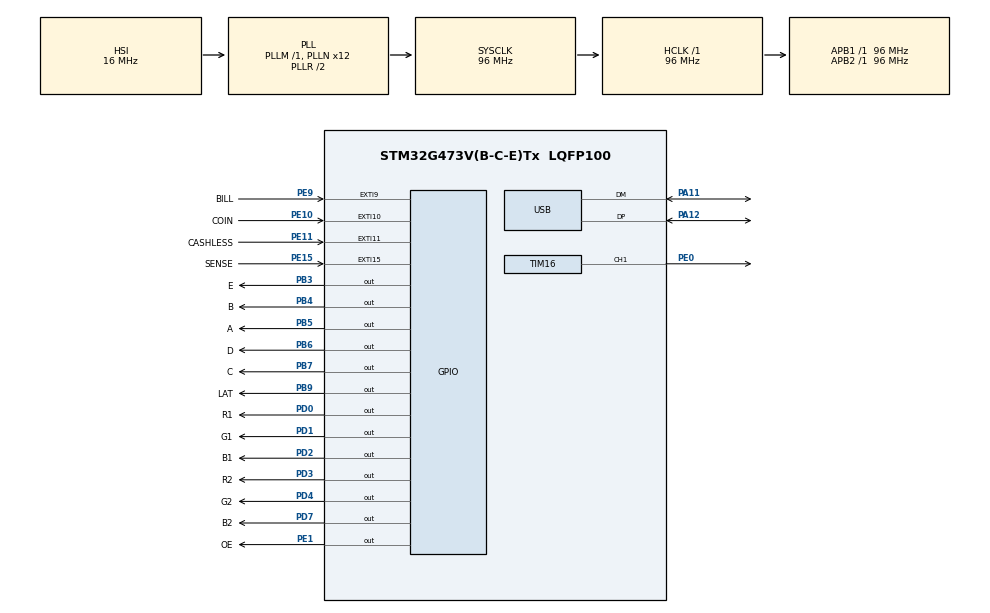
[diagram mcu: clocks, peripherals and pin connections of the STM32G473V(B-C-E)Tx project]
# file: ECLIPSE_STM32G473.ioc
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Dma.Request0=TIM16_UP
Dma.TIM16_UP.0.Direction=DMA_MEMORY_TO_PERIPH
Dma.TIM16_UP.0.EventEnable=DISABLE
Dma.TIM16_UP.0.Instance=DMA1_Channel1
Dma.TIM16_UP.0.MemDataAlignment=DMA_MDATAALIGN_WORD
Dma.TIM16_UP.0.MemInc=DMA_MINC_ENABLE
Dma.TIM16_UP.0.Mode=DMA_NORMAL
Dma.TIM16_UP.0.PeriphDataAlignment=DMA_PDATAALIGN_WORD
Dma.TIM16_UP.0.PeriphInc=DMA_PINC_DISABLE
Dma.TIM16_UP.0.Polarity=HAL_DMAMUX_REQ_GEN_RISING
Dma.TIM16_UP.0.Priority=DMA_PRIORITY_HIGH
Dma.TIM16_UP.0.RequestNumber=1
Dma.TIM16_UP.0.SignalID=NONE
Dma.TIM16_UP.0.SyncEnable=DISABLE
Dma.TIM16_UP.0.SyncPolarity=HAL_DMAMUX_SYNC_NO_EVENT
Dma.TIM16_UP.0.SyncRequestNumber=1
Dma.TIM16_UP.0.SyncSignalID=NONE
Mcu.Family=STM32G4
Mcu.Name=STM32G473V(B-C-E)Tx
Mcu.Package=LQFP100
NVIC.DMA1_Channel1_IRQn=true\:0\:0\:false\:false\:true\:false\:true\:true
NVIC.EXTI15_10_IRQn=true\:0\:0\:false\:false\:true\:true\:true\:true
NVIC.EXTI9_5_IRQn=true\:0\:0\:false\:false\:true\:true\:true\:true
NVIC.PriorityGroup=NVIC_PRIORITYGROUP_4
NVIC.TIM1_UP_TIM16_IRQn=true\:0\:0\:false\:false\:true\:true\:true\:true
NVIC.USB_LP_IRQn=true\:0\:0\:false\:false\:true\:false\:true\:true
PA11.Mode=Device
PA11.Signal=USB_DM
PA12.Mode=Device
PA12.Signal=USB_DP
PB3.GPIO_Label=E
PB3.GPIO_Speed=GPIO_SPEED_FREQ_VERY_HIGH
PB3.Signal=GPIO_Output
PB4.GPIO_Label=B
PB4.GPIO_Speed=GPIO_SPEED_FREQ_VERY_HIGH
PB4.Signal=GPIO_Output
PB5.GPIO_Label=A
PB5.GPIO_Speed=GPIO_SPEED_FREQ_VERY_HIGH
PB5.Signal=GPIO_Output
PB6.GPIO_Label=D
PB6.GPIO_Speed=GPIO_SPEED_FREQ_VERY_HIGH
PB6.Signal=GPIO_Output
PB7.GPIO_Label=C
PB7.GPIO_Speed=GPIO_SPEED_FREQ_VERY_HIGH
PB7.Signal=GPIO_Output
PB9.GPIO_Label=LAT
PB9.GPIO_Speed=GPIO_SPEED_FREQ_VERY_HIGH
PB9.Signal=GPIO_Output
PD0.GPIO_Label=R1
PD0.GPIO_Speed=GPIO_SPEED_FREQ_VERY_HIGH
PD0.Signal=GPIO_Output
PD1.GPIO_Label=G1
PD1.GPIO_Speed=GPIO_SPEED_FREQ_VERY_HIGH
PD1.Signal=GPIO_Output
PD2.GPIO_Label=B1
PD2.GPIO_Speed=GPIO_SPEED_FREQ_VERY_HIGH
PD2.Signal=GPIO_Output
PD3.GPIO_Label=R2
PD3.GPIO_Speed=GPIO_SPEED_FREQ_VERY_HIGH
PD3.Signal=GPIO_Output
PD4.GPIO_Label=G2
PD4.GPIO_Speed=GPIO_SPEED_FREQ_VERY_HIGH
PD4.Signal=GPIO_Output
PD7.GPIO_Label=B2
PD7.GPIO_Speed=GPIO_SPEED_FREQ_VERY_HIGH
PD7.PinState=GPIO_PIN_RESET
PD7.Signal=GPIO_Output
PE0.GPIO_Speed=GPIO_SPEED_FREQ_VERY_HIGH
PE0.Signal=S_TIM16_CH1
PE1.GPIO_Label=OE
PE1.GPIO_Speed=GPIO_SPEED_FREQ_VERY_HIGH
PE1.Signal=GPIO_Output
PE10.GPIO_Label=COIN
PE10.GPIO_ModeDefaultEXTI=GPIO_MODE_IT_FALLING
PE10.Signal=GPXTI10
PE11.GPIO_Label=CASHLESS
PE11.GPIO_ModeDefaultEXTI=GPIO_MODE_IT_FALLING
PE11.Signal=GPXTI11
PE15.GPIO_Label=SENSE
PE15.GPIO_ModeDefaultEXTI=GPIO_MODE_IT_FALLING
PE15.Signal=GPXTI15
PE9.GPIO_Label=BILL
PE9.GPIO_ModeDefaultEXTI=GPIO_MODE_IT_FALLING
PE9.Signal=GPXTI9
PF0-OSC_IN.Mode=HSE-External-Oscillator
PF0-OSC_IN.Signal=RCC_OSC_IN
PF1-OSC_OUT.Mode=HSE-External-Oscillator
PF1-OSC_OUT.Signal=RCC_OSC_OUT
ProjectManager.HeapSize=0x200
ProjectManager.StackSize=0x400
ProjectManager.TargetToolchain=STM32CubeIDE
RCC.ADC12Freq_Value=96000000
RCC.ADC345Freq_Value=96000000
RCC.AHBFreq_Value=96000000
RCC.APB1Freq_Value=96000000
RCC.APB1TimFreq_Value=96000000
RCC.APB2Freq_Value=96000000
RCC.APB2TimFreq_Value=96000000
RCC.CortexFreq_Value=96000000
RCC.EXTERNAL_CLOCK_VALUE=12288000
RCC.HCLKFreq_Value=96000000
RCC.HSE_VALUE=8000000
RCC.HSI48_VALUE=48000000
RCC.HSI_VALUE=16000000
RCC.LSE_VALUE=32768
RCC.PLLN=12
RCC.PLLQ=RCC_PLLQ_DIV4
RCC.SYSCLKFreq_VALUE=96000000
RCC.SYSCLKSource=RCC_SYSCLKSOURCE_PLLCLK
RCC.USBFreq_Value=48000000
RCC.VCOOutputFreq_Value=192000000
SH.S_TIM16_CH1.0=TIM16_CH1,PWM Generation1 CH1
TIM1.PeriodNoDither=599
TIM1.Prescaler=7999
TIM16.AutoReloadPreload=TIM_AUTORELOAD_PRELOAD_ENABLE
TIM16.Channel=TIM_CHANNEL_1
TIM16.OCMode_PWM=TIM_OCMODE_PWM2
TIM16.PeriodNoDither=959
TIM16.PulseNoDither_1=800
TIM6.Prescaler=96 - 1
USB_DEVICE.CLASS_NAME_FS=CDC
USB_DEVICE.VirtualMode=Cdc
USB_DEVICE.VirtualModeFS=Cdc_FS
VP_SYS_VS_DBSignals.Mode=DisableDeadBatterySignals
VP_TIM16_VS_ClockSourceINT.Mode=Enable_Timer
VP_TIM1_VS_ClockSourceINT.Mode=Internal
VP_TIM6_VS_ClockSourceINT.Mode=Enable_Timer
VP_USB_DEVICE_VS_USB_DEVICE_CDC_FS.Mode=CDC_FS
board=custom

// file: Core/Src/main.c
/* USER CODE BEGIN Header */
/**
  ******************************************************************************
  * @file           : main.c
  * @brief          : Main program body
  ******************************************************************************
  * @attention
  *
  * Copyright (c) 2026 STMicroelectronics.
  * All rights reserved.
  *
  * This software is licensed under terms that can be found in the LICENSE file
  * in the root directory of this software component.
  * If no LICENSE file comes with this software, it is provided AS-IS.
  *
  ******************************************************************************
  */
/* USER CODE END Header */
#include "main.h"
#include "usb_device.h"

/* USER CODE BEGIN Includes */
#include <stdint.h>
#include "timer.h"
#include "hub75e.h"
#include "payment_pulse.h"
/* USER CODE END Includes */

TIM_HandleTypeDef htim1;
TIM_HandleTypeDef htim6;
TIM_HandleTypeDef htim16;
DMA_HandleTypeDef hdma_tim16_up;

void SystemClock_Config(void);
static void MX_GPIO_Init(void);
static void MX_DMA_Init(void);
static void MX_TIM1_Init(void);
static void MX_TIM16_Init(void);
static void MX_TIM6_Init(void);

int main(void)
{

  /* MCU Configuration--------------------------------------------------------*/

  /* Reset of all peripherals, Initializes the Flash interface and the Systick. */
  HAL_Init();

  /* Configure the system clock */
  SystemClock_Config();

  /* Initialize all configured peripherals */
  MX_GPIO_Init();
  MX_DMA_Init();
  MX_USB_Device_Init();
  MX_TIM1_Init();
  MX_TIM16_Init();
  MX_TIM6_Init();
  /* USER CODE BEGIN 2 */
  HAL_TIM_Base_Start_IT(&htim1);

  const char* my_text[] = {
      "QWERTY",
      "UIOP",
	  "ASDFGHJK",
  };
  uint32_t new_total;

  HUB75_DMA_Init();
//  HUB75_DMA_TestPattern();

  /* USER CODE END 2 */

  /* Infinite loop */
  /* USER CODE BEGIN WHILE */
  while (1)
  {
//	  font5x7_DrawStringCentered("SONA SONA MACHKALYAN");
//	  HUB75_ScrollTexts(my_text, sizeof(my_text) / sizeof(my_text[0]));
//	  HUB75_ReplaceTexts(my_text, sizeof(my_text) / sizeof(my_text[0]));
	  uint32_t new_total;

	  if (PaymentPulse_UpdateTotal(&new_total))
	      font5x7_display_uint32(new_total);

	  HUB75_Display();
//	  HUB75_DMA_TestPattern();

	  HUB75_Display();

//	  if (timer500ms_flag) {
//		  timer500ms_flag = 0;
//
//		  HUB75_ClearScreen();
//
//		  HUB75_SetPixel(x, y);
//
//		  ++y;
//
//		  if (y >= 64) {
//			  y = 0;
//			  ++x;
//		  }
//		  if (x >= 32) x = 0;
//	  }

    /* USER CODE END WHILE */

  }
}

void SystemClock_Config(void)
{
  RCC_OscInitTypeDef RCC_OscInitStruct = {0};
  RCC_ClkInitTypeDef RCC_ClkInitStruct = {0};

  /** Configure the main internal regulator output voltage
  */
  HAL_PWREx_ControlVoltageScaling(PWR_REGULATOR_VOLTAGE_SCALE1);

  /** Initializes the RCC Oscillators according to the specified parameters
  * in the RCC_OscInitTypeDef structure.
  */
  RCC_OscInitStruct.OscillatorType = RCC_OSCILLATORTYPE_HSI;
  RCC_OscInitStruct.HSIState = RCC_HSI_ON;
  RCC_OscInitStruct.HSICalibrationValue = RCC_HSICALIBRATION_DEFAULT;
  RCC_OscInitStruct.PLL.PLLState = RCC_PLL_ON;
  RCC_OscInitStruct.PLL.PLLSource = RCC_PLLSOURCE_HSI;
  RCC_OscInitStruct.PLL.PLLM = RCC_PLLM_DIV1;
  RCC_OscInitStruct.PLL.PLLN = 12;
  RCC_OscInitStruct.PLL.PLLP = RCC_PLLP_DIV2;
  RCC_OscInitStruct.PLL.PLLQ = RCC_PLLQ_DIV4;
  RCC_OscInitStruct.PLL.PLLR = RCC_PLLR_DIV2;
  if (HAL_RCC_OscConfig(&RCC_OscInitStruct) != HAL_OK)
  {
    Error_Handler();
  }

  /** Initializes the CPU, AHB and APB buses clocks
  */
  RCC_ClkInitStruct.ClockType = RCC_CLOCKTYPE_HCLK|RCC_CLOCKTYPE_SYSCLK
                              |RCC_CLOCKTYPE_PCLK1|RCC_CLOCKTYPE_PCLK2;
  RCC_ClkInitStruct.SYSCLKSource = RCC_SYSCLKSOURCE_PLLCLK;
  RCC_ClkInitStruct.AHBCLKDivider = RCC_SYSCLK_DIV1;
  RCC_ClkInitStruct.APB1CLKDivider = RCC_HCLK_DIV1;
  RCC_ClkInitStruct.APB2CLKDivider = RCC_HCLK_DIV1;

  if (HAL_RCC_ClockConfig(&RCC_ClkInitStruct, FLASH_LATENCY_3) != HAL_OK)
  {
    Error_Handler();
  }
}

static void MX_TIM1_Init(void)
{

  TIM_ClockConfigTypeDef sClockSourceConfig = {0};
  TIM_MasterConfigTypeDef sMasterConfig = {0};

  htim1.Instance = TIM1;
  htim1.Init.Prescaler = 7999;
  htim1.Init.CounterMode = TIM_COUNTERMODE_UP;
  htim1.Init.Period = 599;
  htim1.Init.ClockDivision = TIM_CLOCKDIVISION_DIV1;
  htim1.Init.RepetitionCounter = 0;
  htim1.Init.AutoReloadPreload = TIM_AUTORELOAD_PRELOAD_DISABLE;
  if (HAL_TIM_Base_Init(&htim1) != HAL_OK)
  {
    Error_Handler();
  }
  sClockSourceConfig.ClockSource = TIM_CLOCKSOURCE_INTERNAL;
  if (HAL_TIM_ConfigClockSource(&htim1, &sClockSourceConfig) != HAL_OK)
  {
    Error_Handler();
  }
  sMasterConfig.MasterOutputTrigger = TIM_TRGO_RESET;
  sMasterConfig.MasterOutputTrigger2 = TIM_TRGO2_RESET;
  sMasterConfig.MasterSlaveMode = TIM_MASTERSLAVEMODE_DISABLE;
  if (HAL_TIMEx_MasterConfigSynchronization(&htim1, &sMasterConfig) != HAL_OK)
  {
    Error_Handler();
  }

}

static void MX_TIM6_Init(void)
{

  TIM_MasterConfigTypeDef sMasterConfig = {0};

  htim6.Instance = TIM6;
  htim6.Init.Prescaler = 96 - 1;
  htim6.Init.CounterMode = TIM_COUNTERMODE_UP;
  htim6.Init.Period = 65535;
  htim6.Init.AutoReloadPreload = TIM_AUTORELOAD_PRELOAD_DISABLE;
  if (HAL_TIM_Base_Init(&htim6) != HAL_OK)
  {
    Error_Handler();
  }
  sMasterConfig.MasterOutputTrigger = TIM_TRGO_RESET;
  sMasterConfig.MasterSlaveMode = TIM_MASTERSLAVEMODE_DISABLE;
  if (HAL_TIMEx_MasterConfigSynchronization(&htim6, &sMasterConfig) != HAL_OK)
  {
    Error_Handler();
  }

}

static void MX_TIM16_Init(void)
{

  TIM_OC_InitTypeDef sConfigOC = {0};
  TIM_BreakDeadTimeConfigTypeDef sBreakDeadTimeConfig = {0};

  htim16.Instance = TIM16;
  htim16.Init.Prescaler = 0;
  htim16.Init.CounterMode = TIM_COUNTERMODE_UP;
  htim16.Init.Period = 959;
  htim16.Init.ClockDivision = TIM_CLOCKDIVISION_DIV1;
  htim16.Init.RepetitionCounter = 0;
  htim16.Init.AutoReloadPreload = TIM_AUTORELOAD_PRELOAD_ENABLE;
  if (HAL_TIM_Base_Init(&htim16) != HAL_OK)
  {
    Error_Handler();
  }
  if (HAL_TIM_PWM_Init(&htim16) != HAL_OK)
  {
    Error_Handler();
  }
  sConfigOC.OCMode = TIM_OCMODE_PWM2;
  sConfigOC.Pulse = 800;
  sConfigOC.OCPolarity = TIM_OCPOLARITY_HIGH;
  sConfigOC.OCNPolarity = TIM_OCNPOLARITY_HIGH;
  sConfigOC.OCFastMode = TIM_OCFAST_DISABLE;
  sConfigOC.OCIdleState = TIM_OCIDLESTATE_RESET;
  sConfigOC.OCNIdleState = TIM_OCNIDLESTATE_RESET;
  if (HAL_TIM_PWM_ConfigChannel(&htim16, &sConfigOC, TIM_CHANNEL_1) != HAL_OK)
  {
    Error_Handler();
  }
  sBreakDeadTimeConfig.OffStateRunMode = TIM_OSSR_DISABLE;
  sBreakDeadTimeConfig.OffStateIDLEMode = TIM_OSSI_DISABLE;
  sBreakDeadTimeConfig.LockLevel = TIM_LOCKLEVEL_OFF;
  sBreakDeadTimeConfig.DeadTime = 0;
  sBreakDeadTimeConfig.BreakState = TIM_BREAK_DISABLE;
  sBreakDeadTimeConfig.BreakPolarity = TIM_BREAKPOLARITY_HIGH;
  sBreakDeadTimeConfig.BreakFilter = 0;
  sBreakDeadTimeConfig.AutomaticOutput = TIM_AUTOMATICOUTPUT_DISABLE;
  if (HAL_TIMEx_ConfigBreakDeadTime(&htim16, &sBreakDeadTimeConfig) != HAL_OK)
  {
    Error_Handler();
  }
  HAL_TIM_MspPostInit(&htim16);

}

static void MX_DMA_Init(void)
{

  /* DMA controller clock enable */
  __HAL_RCC_DMAMUX1_CLK_ENABLE();
  __HAL_RCC_DMA1_CLK_ENABLE();

  /* DMA interrupt init */
  /* DMA1_Channel1_IRQn interrupt configuration */
  HAL_NVIC_SetPriority(DMA1_Channel1_IRQn, 0, 0);
  HAL_NVIC_EnableIRQ(DMA1_Channel1_IRQn);

}

static void MX_GPIO_Init(void)
{
  GPIO_InitTypeDef GPIO_InitStruct = {0};

  /* GPIO Ports Clock Enable */
  __HAL_RCC_GPIOF_CLK_ENABLE();
  __HAL_RCC_GPIOE_CLK_ENABLE();
  __HAL_RCC_GPIOA_CLK_ENABLE();
  __HAL_RCC_GPIOD_CLK_ENABLE();
  __HAL_RCC_GPIOB_CLK_ENABLE();

  /*Configure GPIO pin Output Level */
  HAL_GPIO_WritePin(GPIOD, R1_Pin|G1_Pin|B1_Pin|R2_Pin
                          |G2_Pin|B2_Pin, GPIO_PIN_RESET);

  /*Configure GPIO pin Output Level */
  HAL_GPIO_WritePin(GPIOB, E_Pin|B_Pin|A_Pin|D_Pin
                          |C_Pin|LAT_Pin, GPIO_PIN_RESET);

  /*Configure GPIO pin Output Level */
  HAL_GPIO_WritePin(OE_GPIO_Port, OE_Pin, GPIO_PIN_RESET);

  /*Configure GPIO pins : BILL_Pin COIN_Pin CASHLESS_Pin SENSE_Pin */
  GPIO_InitStruct.Pin = BILL_Pin|COIN_Pin|CASHLESS_Pin|SENSE_Pin;
  GPIO_InitStruct.Mode = GPIO_MODE_IT_FALLING;
  GPIO_InitStruct.Pull = GPIO_NOPULL;
  HAL_GPIO_Init(GPIOE, &GPIO_InitStruct);

  /*Configure GPIO pins : R1_Pin G1_Pin B1_Pin R2_Pin
                           G2_Pin B2_Pin */
  GPIO_InitStruct.Pin = R1_Pin|G1_Pin|B1_Pin|R2_Pin
                          |G2_Pin|B2_Pin;
  GPIO_InitStruct.Mode = GPIO_MODE_OUTPUT_PP;
  GPIO_InitStruct.Pull = GPIO_NOPULL;
  GPIO_InitStruct.Speed = GPIO_SPEED_FREQ_VERY_HIGH;
  HAL_GPIO_Init(GPIOD, &GPIO_InitStruct);

  /*Configure GPIO pins : E_Pin B_Pin A_Pin D_Pin
                           C_Pin LAT_Pin */
  GPIO_InitStruct.Pin = E_Pin|B_Pin|A_Pin|D_Pin
                          |C_Pin|LAT_Pin;
  GPIO_InitStruct.Mode = GPIO_MODE_OUTPUT_PP;
  GPIO_InitStruct.Pull = GPIO_NOPULL;
  GPIO_InitStruct.Speed = GPIO_SPEED_FREQ_VERY_HIGH;
  HAL_GPIO_Init(GPIOB, &GPIO_InitStruct);

  /*Configure GPIO pin : OE_Pin */
  GPIO_InitStruct.Pin = OE_Pin;
  GPIO_InitStruct.Mode = GPIO_MODE_OUTPUT_PP;
  GPIO_InitStruct.Pull = GPIO_NOPULL;
  GPIO_InitStruct.Speed = GPIO_SPEED_FREQ_VERY_HIGH;
  HAL_GPIO_Init(OE_GPIO_Port, &GPIO_InitStruct);

  /* EXTI interrupt init*/
  HAL_NVIC_SetPriority(EXTI9_5_IRQn, 0, 0);
  HAL_NVIC_EnableIRQ(EXTI9_5_IRQn);

  HAL_NVIC_SetPriority(EXTI15_10_IRQn, 0, 0);
  HAL_NVIC_EnableIRQ(EXTI15_10_IRQn);

}

void Error_Handler(void)
{
  __disable_irq();
  while (1)
  {
  }
}
